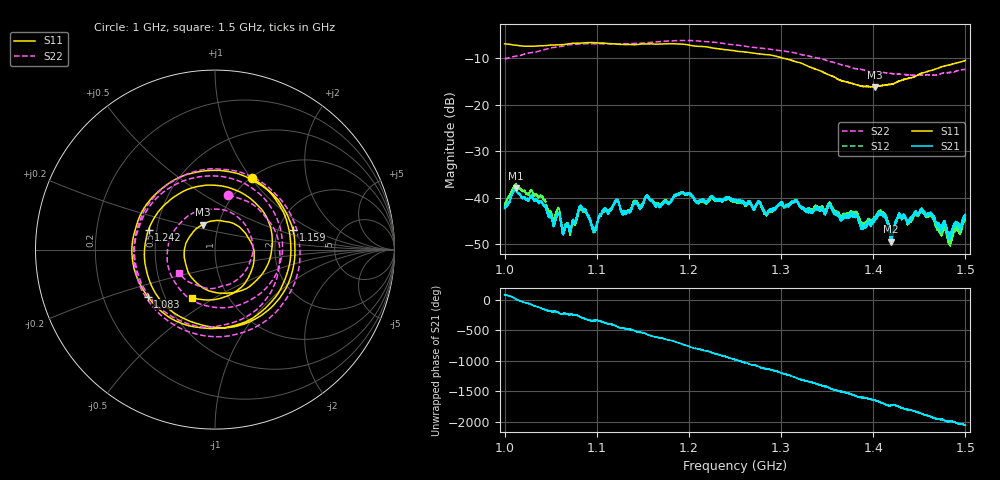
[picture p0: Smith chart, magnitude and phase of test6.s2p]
!Keysight Technologies N9923A: A.08.15
!Date: Friday, 16 February 2024 21:24:55
!Timezone: (GMT-05:00) Eastern Time (US & Canada)
!Model: N9923A
!Serial: MY52412730
!GPS Latitude:
!GPS Longitude:
!GPS TimeStamp: 0001-01-01 00:00:00Z
!GPS Seconds Since Last Read: 0
!CHECKSUM:2046088005
!Correction: S11(ON Q)S21(ON Q)S12(ON Q)S22(ON Q)
!S2P File: Measurements:S11,S21,S12,S22:
# Hz S DB R 50
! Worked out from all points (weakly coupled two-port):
!   10001 points, 1 GHz to 1.5 GHz, reference 50 ohm
!   highest |S21| = -38.02 dB at 1.012 GHz (marker M1); lowest = -49.5 dB at 1.419 GHz (marker M2)
!   lowest |S11| = -16.2 dB at 1.402 GHz (marker M3), VSWR 1.37, Z = 42.1 + j12 ohm
!   |S11| at or under -10 dB: 1.301239 GHz to 1.301264 GHz (24.86 kHz wide, 0.00191 % of centre); 1.301 GHz to end of sweep
!   |S22| runs from -13.7 to -6.2 dB; largest |S21 - S12| = 0.0022
!   S11 on the Smith chart (normalised r, x): 1 GHz: 1.01, +1.01; 1.083 GHz: 0.40, -0.27; 1.159 GHz: 2.41, +0.66; 1.242 GHz: 0.45, +0.12; 1.5 GHz: 0.67, -0.39
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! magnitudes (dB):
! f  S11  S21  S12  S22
! 1 GHz  -7.0  -42.3  -41.5  -10.1
! 1.012 GHz  -7.2  -38.0  -37.2  -9.6
! 1.058 GHz  -7.2  -43.3  -42.3  -7.6
! 1.064 GHz  -7.1  -47.8  -47.3  -7.4
! 1.083 GHz  -6.8  -41.8  -42.3  -7.0
! 1.083 GHz  -6.8  -42.1  -42.5  -7.0
! 1.097 GHz  -6.7  -46.9  -47.3  -6.9
! 1.121 GHz  -7.0  -40.4  -40.5  -7.0
! 1.13 GHz  -7.1  -43.2  -43.0  -6.9
! 1.159 GHz  -7.0  -40.4  -40.4  -6.6
! 1.167 GHz  -7.0  -41.7  -41.4  -6.5
! 1.192 GHz  -7.0  -39.0  -38.9  -6.2
! 1.242 GHz  -8.3  -40.0  -40.3  -7.0
! 1.25 GHz  -8.5  -40.6  -40.6  -7.2
! 1.333 GHz  -12.1  -43.1  -42.7  -9.7
! 1.402 GHz  -16.2  -44.7  -44.6  -12.9
! 1.417 GHz  -15.7  -46.3  -45.9  -13.2
! 1.419 GHz  -15.7  -49.5  -48.9  -13.3
! 1.428 GHz  -15.0  -43.8  -44.3  -13.5
! 1.453 GHz  -13.3  -42.7  -42.9  -13.6
! 1.483 GHz  -11.5  -47.8  -49.3  -13.1
! 1.5 GHz  -10.5  -43.8  -44.7  -12.4
